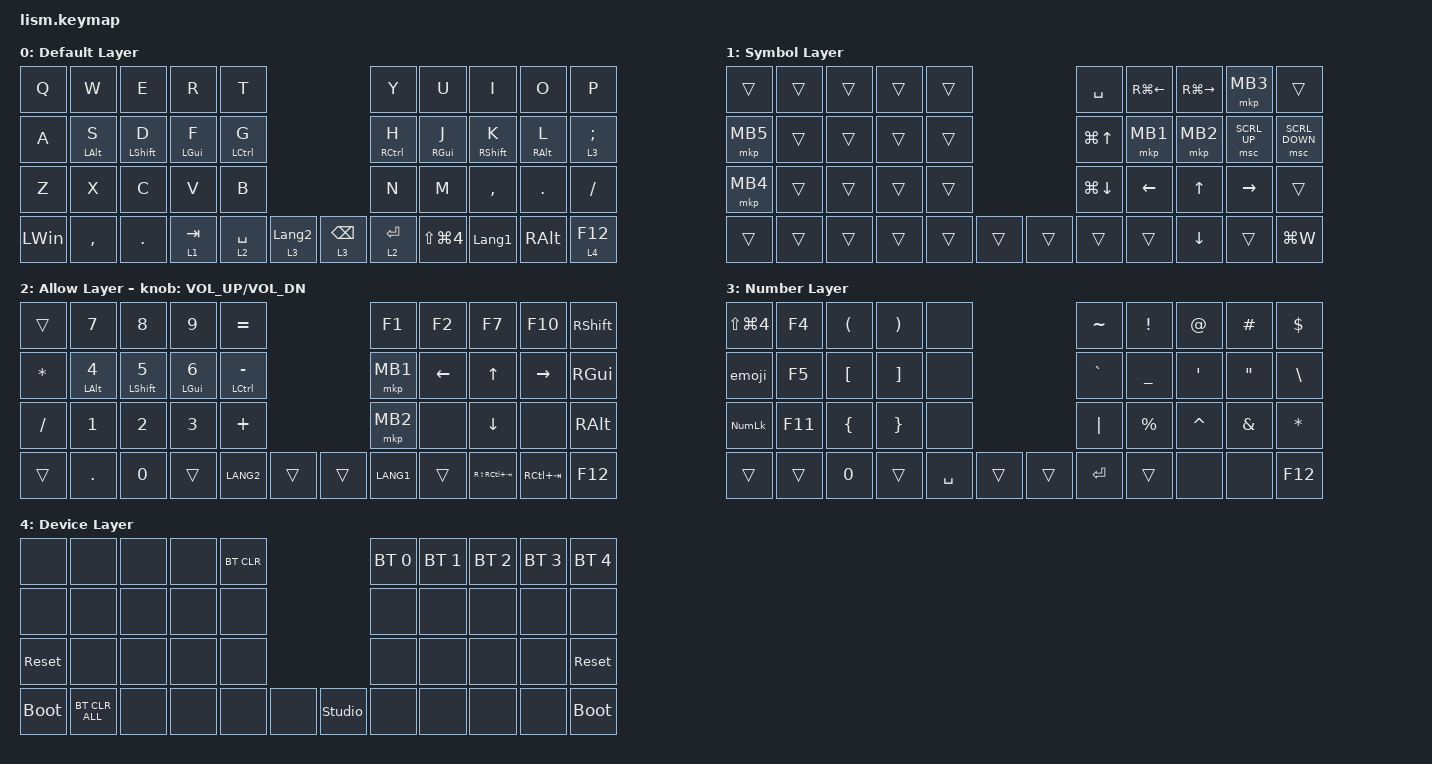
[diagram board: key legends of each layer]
#define ZMK_POINTING_DEFAULT_SCRL_VAL 200

#include <dt-bindings/zmk/mouse.h>
#include <behaviors.dtsi>
#include <dt-bindings/zmk/bt.h>
#include <dt-bindings/zmk/keys.h>
#include <dt-bindings/zmk/pointing.h>

// OS設定を日本語キーボードのまま使用するための変換定義

#define JP_DQUOTE       AT                // "
#define JP_AMPERSAND    CARET             // &
#define JP_QUOTE        AMPERSAND         // '
#define JP_EQUAL        UNDER             // =
#define JP_CARET        EQUAL             // ^
#define JP_YEN          0x89              // ¥
#define JP_PLUS         COLON             // +
#define JP_TILDE        PLUS              // ~
#define JP_PIPE         LS(0x89)          // |
#define JP_AT           LEFT_BRACKET      // @
#define JP_COLON        SINGLE_QUOTE      // :
#define JP_ASTERISK     DOUBLE_QUOTES     // *
#define JP_BACKQUOTE    LEFT_BRACE        // `
#define JP_UNDERSCORE   LS(0x87)          // _
#define JP_LBRACKET     RIGHT_BRACKET     // [
#define JP_RBRACKET     BACKSLASH         // ]
#define JP_LPAREN       ASTERISK          // (
#define JP_RPAREN       LEFT_PARENTHESIS  // )
#define JP_LBRACE       RIGHT_BRACE       // {
#define JP_RBRACE       PIPE              // }
#define JP_KANA         LANGUAGE_1        // かな
#define JP_EISU         LANGUAGE_2        // 英数
#define JP_HANZEN       GRAVE             // 半角/全角

&mt {
    tapping-term-ms = <300>;
    flavor = "balanced";
};

&lt { quick-tap-ms = <300>; };

/ {
    macros {
        emoji: emoji_macro {
            compatible = "zmk,behavior-macro";
            label = "EMOJI";
            #binding-cells = <0>;
            bindings =
                <&macro_press>,
                <&kp CAPSLOCK>,
                <&macro_tap>,
                <&kp E>,
                <&macro_release>,
                <&kp CAPSLOCK>;
        };
    };

    behaviors {
        encoder_msc: sensor_rotate_msc {
            compatible = "zmk,behavior-sensor-rotate-var";
            #sensor-binding-cells = <2>;
            bindings = <&msc>, <&msc>;

            tap-ms = <20>;
        };

        encoder_kp: sensor_rotate_kp {
            compatible = "zmk,behavior-sensor-rotate-var";
            #sensor-binding-cells = <2>;
            bindings = <&kp>, <&kp>;
        };
    };

    keymap {
        compatible = "zmk,keymap";

        default_layer {
            display-name = "Default Layer";
            bindings = <
                &kp Q         &kp W       &kp E         &kp R           &kp T                                      &kp Y        &kp U           &kp I         &kp O       &kp P
                &kp A         &mt LALT S  &mt LSHIFT D  &mt LGUI F      &mt LCTRL G                                &mt RCTRL H  &mt RGUI J      &mt RSHIFT K  &mt RALT L  &lt 3 SEMICOLON
                &kp Z         &kp X       &kp C         &kp V           &kp B                                      &kp N        &kp M           &kp COMMA     &kp DOT     &kp SLASH
                &kp LEFT_WIN  &kp COMMA   &kp PERIOD    &lt 1 TAB       &lt 2 SPACE  &lt 3 LANGUAGE_2    &lt 3 BACKSPACE  &lt 2 ENTER  &kp LS(LG(N4))  &kp LANGUAGE_1     &kp RIGHT_ALT     &lt 4 F12
            >;
        };

        layer_1 {
            display-name = "Symbol Layer";
            bindings = <
                &trans    &trans  &trans  &trans  &trans                    &kp SPACE     &kp RG(LEFT)  &kp RG(RIGHT)  &mkp MB3      &trans
                &mkp MB5  &trans  &trans  &trans  &trans                    &kp LG(UP)    &mkp MB1      &mkp MB2       &msc SCRL_UP  &msc SCRL_DOWN
                &mkp MB4  &trans  &trans  &trans  &trans                    &kp LG(DOWN)  &kp LEFT      &kp UP         &kp RIGHT     &trans
                &trans    &trans  &trans  &trans  &trans  &trans    &trans  &trans        &trans        &kp DOWN       &trans        &kp LG(W)
            >;
        };

        layer_2 {
            display-name = "Allow Layer";
            bindings = <
                &trans        &kp NUMBER_7       &kp NUMBER_8         &kp NUMBER_9       &kp EQUAL                          &kp F1     &kp F2    &kp F7           &kp F10      &kp RSHIFT
                &kp ASTERISK  &mt LALT NUMBER_4  &mt LSHIFT NUMBER_5  &mt LGUI NUMBER_6  &mt LCTRL MINUS                    &mkp MB1   &kp LEFT  &kp UP           &kp RIGHT    &kp RGUI
                &kp SLASH     &kp NUMBER_1       &kp NUMBER_2         &kp NUMBER_3       &kp PLUS                           &mkp MB2   &none     &kp DOWN         &none        &kp RALT
                &trans        &kp DOT            &kp NUMBER_0         &trans             &kp LANG2        &trans    &trans  &kp LANG1  &trans    &kp RS(RC(TAB))  &kp RC(TAB)  &kp F12
            >;

            sensor-bindings = <&encoder_kp C_VOL_UP C_VOL_DN>;
        };

        layer_3 {
            display-name = "Number Layer";
            bindings = <
                &kp LS(LG(N4))  &kp F4   &kp LEFT_PARENTHESIS  &kp RIGHT_PARENTHESIS  &none                        &kp TILDE  &kp EXCLAMATION  &kp AT_SIGN       &kp HASH           &kp DOLLAR
                &emoji          &kp F5   &kp LEFT_BRACKET      &kp RIGHT_BRACKET      &none                        &kp GRAVE  &kp UNDER        &kp SINGLE_QUOTE  &kp DOUBLE_QUOTES  &kp BACKSLASH
                &kp KP_NUMLOCK  &kp F11  &kp LEFT_BRACE        &kp RIGHT_BRACE        &none                        &kp PIPE   &kp PERCENT      &kp CARET         &kp AMPERSAND      &kp ASTERISK
                &trans          &trans   &kp NUMBER_0          &trans                 &kp SPACE  &trans    &trans  &kp ENTER  &trans           &none             &none              &kp F12
            >;
        };

        layer_4 {
            display-name = "Device Layer";
            bindings = <
                &none        &none           &none  &none  &bt BT_CLR                           &bt BT_SEL 0  &bt BT_SEL 1  &bt BT_SEL 2  &bt BT_SEL 3  &bt BT_SEL 4
                &none        &none           &none  &none  &none                                &none         &none         &none         &none         &none
                &sys_reset   &none           &none  &none  &none                                &none         &none         &none         &none         &sys_reset
                &bootloader  &bt BT_CLR_ALL  &none  &none  &none       &none    &studio_unlock  &none         &none         &none         &none         &bootloader
            >;
        };

        layer_5 {
            status = "reserved";
            display-name = "Brank Layer";
            bindings = <
                &trans  &trans  &trans  &trans  &trans                    &trans  &trans  &trans  &trans  &trans
                &trans  &trans  &trans  &trans  &trans                    &trans  &trans  &trans  &trans  &trans
                &trans  &trans  &trans  &trans  &trans                    &trans  &trans  &trans  &trans  &trans
                &trans  &trans  &trans  &trans  &trans  &trans    &trans  &trans  &trans  &trans  &trans  &trans
            >;
        };

        layer_6 {
            status = "reserved";
            display-name = "Brank Layer";
            bindings = <
                &trans  &trans  &trans  &trans  &trans                    &trans  &trans  &trans  &trans  &trans
                &trans  &trans  &trans  &trans  &trans                    &trans  &trans  &trans  &trans  &trans
                &trans  &trans  &trans  &trans  &trans                    &trans  &trans  &trans  &trans  &trans
                &trans  &trans  &trans  &trans  &trans  &trans    &trans  &trans  &trans  &trans  &trans  &trans
            >;
        };

        layer_7 {
            status = "reserved";
            display-name = "Brank Layer";
            bindings = <
                &trans  &trans  &trans  &trans  &trans                    &trans  &trans  &trans  &trans  &trans
                &trans  &trans  &trans  &trans  &trans                    &trans  &trans  &trans  &trans  &trans
                &trans  &trans  &trans  &trans  &trans                    &trans  &trans  &trans  &trans  &trans
                &trans  &trans  &trans  &trans  &trans  &trans    &trans  &trans  &trans  &trans  &trans  &trans
            >;
        };
    };
};
